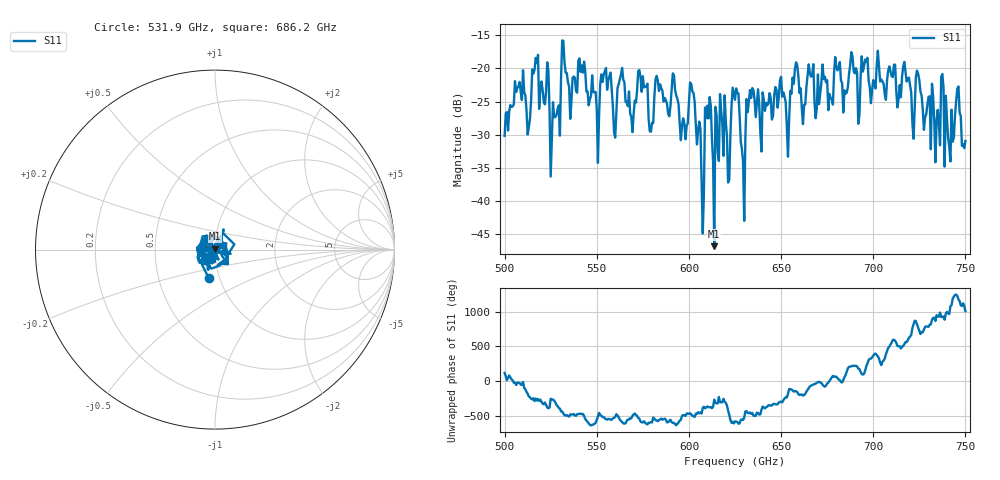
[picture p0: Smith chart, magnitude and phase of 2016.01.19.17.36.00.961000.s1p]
!Created with skrf (http://scikit-rf.org).
# GHz S RI R 50.0
!freq ReS11 ImS11
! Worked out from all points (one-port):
!   401 points, 500 GHz to 750 GHz, reference 50 ohm
!   lowest |S11| = -46.8 dB at 613.8 GHz (marker M1), VSWR 1.01, Z = 50 + j0.452 ohm
!   |S11| at or under -10 dB: start of sweep to end of sweep
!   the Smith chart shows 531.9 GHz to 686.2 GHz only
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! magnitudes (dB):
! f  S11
! 500 GHz  -30.2
! 506.9 GHz  -22.9
! 513.1 GHz  -28.9
! 516.9 GHz  -18.4
! 526.2 GHz  -25.1
! 531.2 GHz  -15.8
! 550 GHz  -26.1
! 562.5 GHz  -21.7
! 576.2 GHz  -22.8
! 579.4 GHz  -29.6
! 583.1 GHz  -21.8
! 593.8 GHz  -24.6
! 601.9 GHz  -23.5
! 606.9 GHz  -37.3
! 610.6 GHz  -27.6
! 613.8 GHz  -46.8
! 618.1 GHz  -28.4
! 621.9 GHz  -36.8
! 625 GHz  -24.7
! 629.4 GHz  -34.1
! 633.8 GHz  -24.4
! 653.1 GHz  -28.8
! 656.2 GHz  -21.4
! 687.5 GHz  -19.5
! 718.8 GHz  -21.6
! 741.9 GHz  -34.1
! 746.2 GHz  -22.7
! 750 GHz  -31.0
